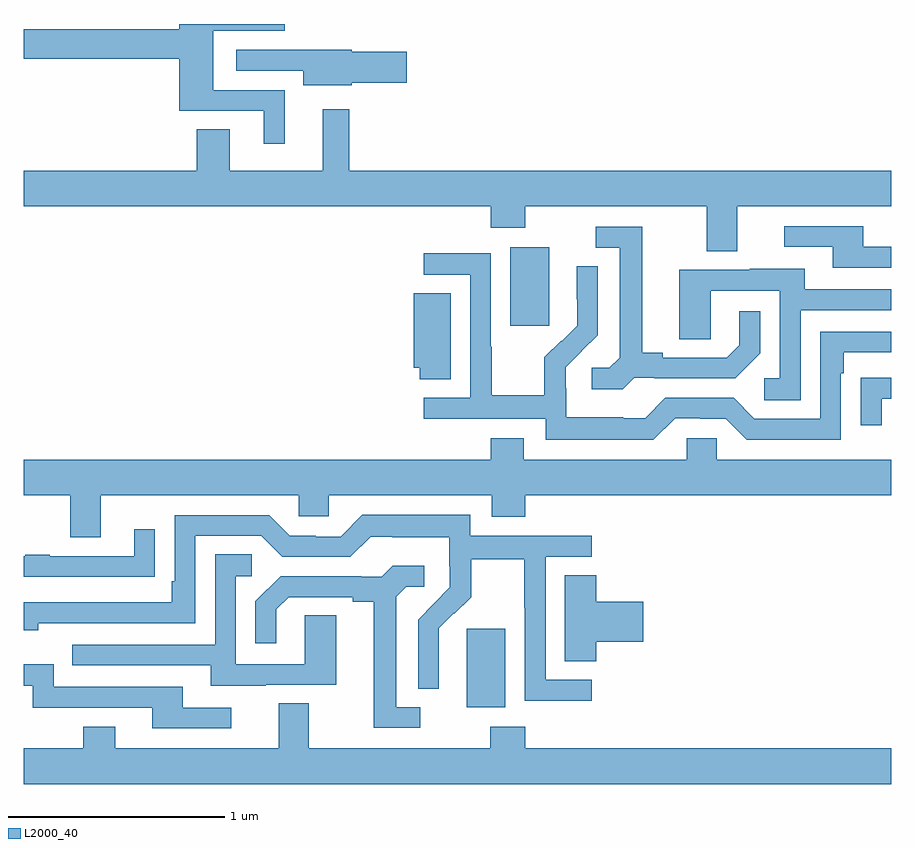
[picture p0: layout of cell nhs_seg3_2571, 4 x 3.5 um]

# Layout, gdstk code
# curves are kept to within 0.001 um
import gdstk
lib = gdstk.Library(unit=1e-6, precision=1e-09)
def R(c, l, rs):  # rectangles x0, y0, x1, y1
    for r in rs: c.add(gdstk.rectangle(r[:2], r[2:], *l))
def P(c, l, *ps):  # polygons
    for p in ps: c.add(gdstk.Polygon(p, *l))
L2000_40 = (2000, 40)

nhs_seg3_2571 = lib.new_cell('nhs_seg3_2571')
R(nhs_seg3_2571, L2000_40, [(245.042,721.25,245.221,721.611), (245.243,723.009,245.422,723.37)])
P(nhs_seg3_2571, L2000_40, [(244.204,724.095),(243.874,724.095),(243.874,724.37),(244.204,724.37),(244.204,724.4),(243.716,724.4),(243.716,724.376),(243,724.376),(243,724.24),(243.716,724.24),(243.716,723.999),(244.106,723.999),(244.106,723.849),(244.204,723.849)],
  [(244.512,724.129),(244.765,724.129),(244.765,724.271),(244.512,724.271),(244.512,724.282),(244.293,724.282),(244.293,724.281),(243.981,724.281),(243.981,724.185),(244.289,724.185),(244.289,724.118),(244.512,724.118)],
  [(246.289,723.56),(247,723.56),(247,723.724),(244.501,723.724),(244.501,724.006),(244.379,724.006),(244.379,723.724),(243.949,723.724),(243.949,723.914),(243.797,723.914),(243.797,723.724),(243,723.724),(243,723.56),(245.153,723.56),(245.153,723.461),(245.313,723.461),(245.313,723.56),(246.149,723.56),(246.149,723.352),(246.289,723.352)],
  [(247,723.372),(246.871,723.372),(246.871,723.468),(246.507,723.468),(246.507,723.372),(246.731,723.372),(246.731,723.276),(247,723.276)],
  [(245.814,722.769),(245.908,722.769),(245.908,722.766),(246.28,722.766),(246.396,722.882),(246.396,723.076),(246.299,723.076),(246.299,722.919),(246.242,722.862),(245.947,722.862),(245.947,722.885),(245.851,722.885),(245.851,723.465),(245.637,723.465),(245.637,723.369),(245.747,723.369),(245.747,722.861),(245.7,722.814),(245.619,722.814),(245.619,722.717),(245.762,722.717)],
  [(246.003,722.583),(246.119,722.583),(246.119,722.58),(246.237,722.58),(246.333,722.484),(246.768,722.484),(246.768,722.789),(246.781,722.789),(246.781,722.886),(247,722.886),(247,722.982),(246.672,722.982),(246.672,722.58),(246.369,722.58),(246.273,722.676),(245.958,722.676),(245.865,722.583),(245.765,722.583),(245.765,722.587),(245.502,722.587),(245.502,722.721),(245.5,722.721),(245.5,722.818),(245.646,722.966),(245.646,723.284),(245.55,723.284),(245.55,723.13),(245.552,723.13),(245.552,723.008),(245.481,722.937),(245.478,722.94),(245.401,722.863),(245.401,722.689),(245.157,722.689),(245.157,722.912),(245.154,722.912),(245.154,723.342),(244.845,723.342),(244.845,723.243),(245.058,723.243),(245.058,722.676),(244.845,722.676),(244.845,722.58),(245.406,722.58),(245.406,722.483),(245.903,722.483)],
  [(246.582,723.081),(247,723.081),(247,723.177),(246.601,723.177),(246.601,723.271),(246.347,723.271),(246.347,723.267),(246.023,723.267),(246.023,722.947),(246.168,722.947),(246.168,723.171),(246.486,723.171),(246.486,722.766),(246.414,722.766),(246.414,722.665),(246.582,722.665)],
  [(244.969,723.158),(244.799,723.158),(244.799,722.814),(244.826,722.814),(244.826,722.761),(244.969,722.761)],
  [(246.955,722.673),(247,722.673),(247,722.769),(246.961,722.769),(246.961,722.768),(246.859,722.768),(246.859,722.55),(246.955,722.55)],
  [(243.355,722.228),(244.269,722.228),(244.269,722.13),(244.407,722.13),(244.407,722.228),(245.159,722.228),(245.159,722.129),(245.312,722.129),(245.312,722.228),(247,722.228),(247,722.392),(246.195,722.392),(246.195,722.49),(246.057,722.49),(246.057,722.392),(245.305,722.392),(245.305,722.491),(245.153,722.491),(245.153,722.392),(243,722.392),(243,722.228),(243.215,722.228),(243.215,722.034),(243.355,722.034)],
  [(245.62,721.377),(245.406,721.377),(245.406,721.944),(245.62,721.944),(245.62,722.04),(245.058,722.04),(245.058,722.137),(244.561,722.137),(244.461,722.037),(244.346,722.037),(244.346,722.04),(244.227,722.04),(244.131,722.136),(243.696,722.136),(243.696,721.831),(243.683,721.831),(243.683,721.734),(243,721.734),(243,721.604),(243.068,721.604),(243.068,721.638),(243.792,721.638),(243.792,722.04),(244.095,722.04),(244.191,721.944),(244.506,721.944),(244.599,722.037),(244.699,722.037),(244.699,722.033),(244.962,722.033),(244.962,721.899),(244.964,721.899),(244.964,721.802),(244.818,721.654),(244.818,721.336),(244.914,721.336),(244.913,721.613),(244.983,721.683),(244.986,721.68),(245.063,721.757),(245.063,721.932),(245.308,721.932),(245.308,721.708),(245.31,721.708),(245.31,721.279),(245.62,721.279)],
  [(243.503,721.852),(243.605,721.852),(243.605,722.071),(243.509,722.071),(243.509,721.947),(243.119,721.947),(243.119,721.952),(243.007,721.952),(243.007,721.947),(243,721.947),(243,721.851),(243.503,721.851)],
  [(244.117,721.353),(244.441,721.353),(244.441,721.673),(244.296,721.673),(244.296,721.449),(243.978,721.449),(243.978,721.854),(244.051,721.854),(244.051,721.955),(243.882,721.955),(243.882,721.539),(243.223,721.539),(243.223,721.443),(243.863,721.443),(243.863,721.349),(244.117,721.349)],
  [(244.828,721.251),(244.717,721.251),(244.717,721.759),(244.764,721.806),(244.846,721.806),(244.846,721.903),(244.702,721.903),(244.65,721.851),(244.556,721.851),(244.556,721.854),(244.184,721.854),(244.068,721.738),(244.068,721.545),(244.165,721.545),(244.165,721.701),(244.222,721.758),(244.517,721.758),(244.517,721.736),(244.613,721.736),(244.613,721.155),(244.828,721.155)],
  [(245.639,721.553),(245.857,721.553),(245.857,721.736),(245.639,721.736),(245.639,721.859),(245.495,721.859),(245.495,721.462),(245.639,721.462)],
  [(243.958,721.248),(243.733,721.248),(243.733,721.344),(243.138,721.344),(243.138,721.447),(243,721.447),(243,721.35),(243.042,721.35),(243.042,721.248),(243.593,721.248),(243.593,721.152),(243.958,721.152)],
  [(247,721.06),(245.312,721.06),(245.312,721.159),(245.152,721.159),(245.152,721.06),(244.315,721.06),(244.315,721.268),(244.175,721.268),(244.175,721.06),(243.421,721.06),(243.421,721.159),(243.274,721.159),(243.274,721.06),(243,721.06),(243,720.896),(247,720.896)])

lib.write_gds('nhs_seg3_2571.gds')
